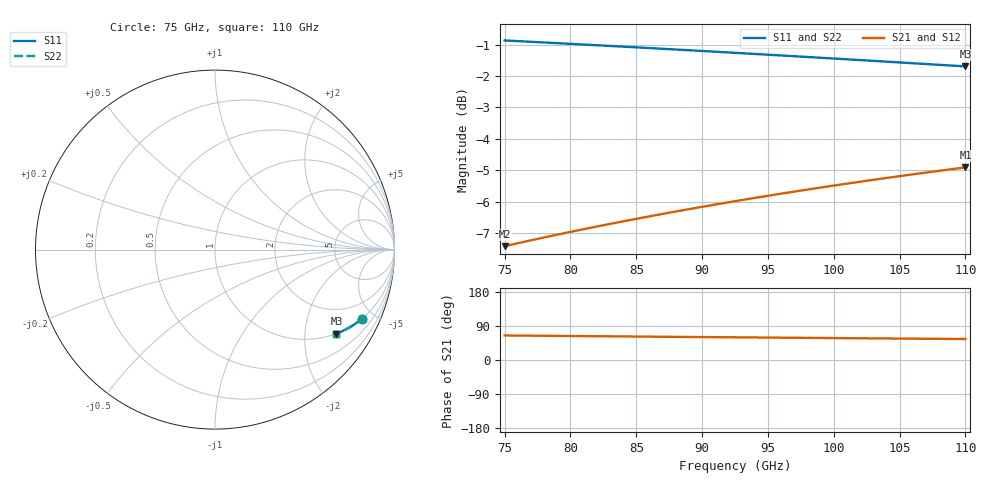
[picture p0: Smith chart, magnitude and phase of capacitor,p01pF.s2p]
# HZ S RI R 50
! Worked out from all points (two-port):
!   101 points, 75 GHz to 110 GHz, reference 50 ohm
!   highest |S21| = -4.90 dB at 110 GHz (marker M1); lowest = -7.4 dB at 75 GHz (marker M2)
!   |S21| within 3 dB of the highest: start of sweep to end of sweep
!   lowest |S11| = -1.7 dB at 110 GHz (marker M3), VSWR 10.28, Z = 50 - j145 ohm
!   |S11| at or under -10 dB: nowhere
!   |S22| runs from -1.7 to -0.9 dB; largest |S21 - S12| = 0
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7.5e10  0.8183 -0.3856  0.1817 0.3856  0.1817 0.3856  0.8183 -0.3856
7.64e10  0.8127 -0.3901  0.1873 0.3901  0.1873 0.3901  0.8127 -0.3901
7.78e10  0.8071 -0.3946  0.1929 0.3946  0.1929 0.3946  0.8071 -0.3946
7.92e10  0.8015 -0.3989  0.1985 0.3989  0.1985 0.3989  0.8015 -0.3989
8.095e10  0.7945 -0.4041  0.2055 0.4041  0.2055 0.4041  0.7945 -0.4041
8.235e10  0.7888 -0.4081  0.2112 0.4081  0.2112 0.4081  0.7888 -0.4081
8.375e10  0.7831 -0.4121  0.2169 0.4121  0.2169 0.4121  0.7831 -0.4121
8.515e10  0.7775 -0.416  0.2225 0.416  0.2225 0.416  0.7775 -0.416
8.69e10  0.7703 -0.4206  0.2297 0.4206  0.2297 0.4206  0.7703 -0.4206
8.83e10  0.7646 -0.4242  0.2354 0.4242  0.2354 0.4242  0.7646 -0.4242
8.97e10  0.7589 -0.4277  0.2411 0.4277  0.2411 0.4277  0.7589 -0.4277
9.11e10  0.7532 -0.4311  0.2468 0.4311  0.2468 0.4311  0.7532 -0.4311
9.25e10  0.7475 -0.4344  0.2525 0.4344  0.2525 0.4344  0.7475 -0.4344
9.39e10  0.7418 -0.4376  0.2582 0.4376  0.2582 0.4376  0.7418 -0.4376
9.53e10  0.7361 -0.4408  0.2639 0.4408  0.2639 0.4408  0.7361 -0.4408
9.67e10  0.7304 -0.4438  0.2696 0.4438  0.2696 0.4438  0.7304 -0.4438
9.845e10  0.7233 -0.4474  0.2767 0.4474  0.2767 0.4474  0.7233 -0.4474
1.0125e11  0.7119 -0.4529  0.2881 0.4529  0.2881 0.4529  0.7119 -0.4529
1.0265e11  0.7062 -0.4555  0.2938 0.4555  0.2938 0.4555  0.7062 -0.4555
1.044e11  0.6992 -0.4586  0.3008 0.4586  0.3008 0.4586  0.6992 -0.4586
1.072e11  0.6879 -0.4633  0.3121 0.4633  0.3121 0.4633  0.6879 -0.4633
1.1e11  0.6767 -0.4677  0.3233 0.4677  0.3233 0.4677  0.6767 -0.4677
